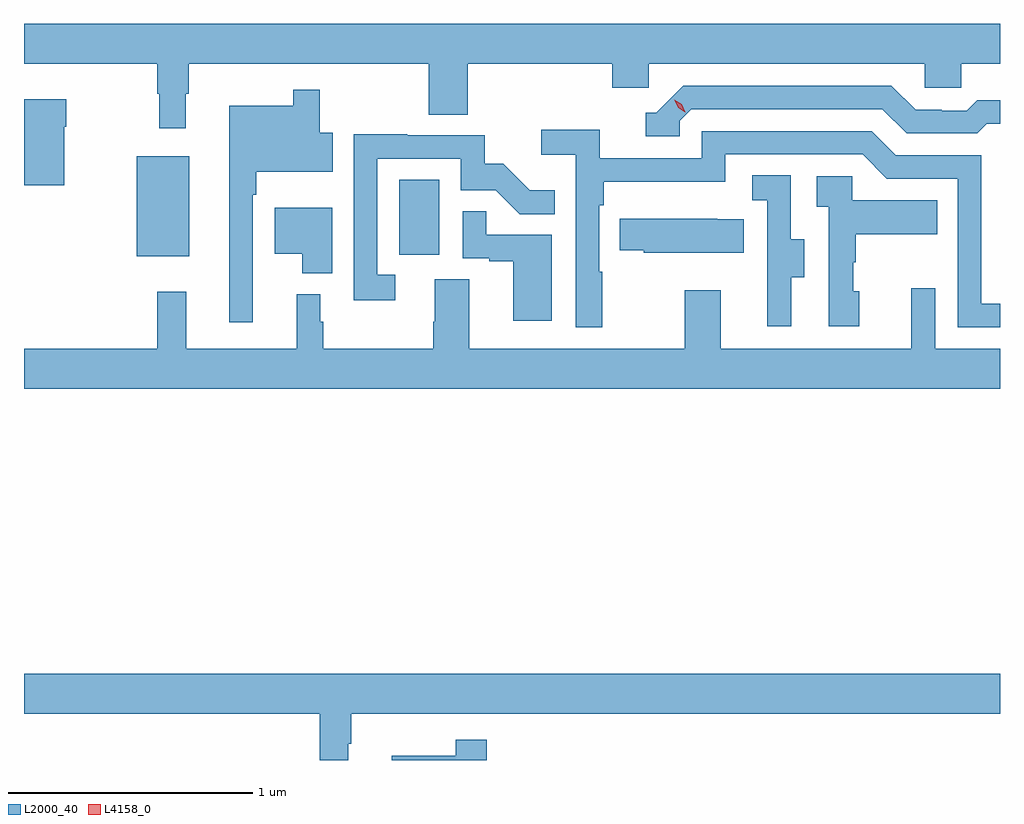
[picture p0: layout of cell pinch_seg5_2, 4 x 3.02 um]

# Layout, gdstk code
import gdstk
lib = gdstk.Library(unit=1e-6, precision=1e-09)
def R(c, l, rs):  # rectangles x0, y0, x1, y1
    for r in rs: c.add(gdstk.rectangle(r[:2], r[2:], *l))
def P(c, l, *ps):  # polygons
    for p in ps: c.add(gdstk.Polygon(p, *l))
L2000_40 = (2000, 40)
L4158_0 = (4158, 0)

pinch_seg5_2 = lib.new_cell('pinch_seg5_2')
R(pinch_seg5_2, L2000_40, [(1076.888,899.927,1077.103,900.337), (1077.962,899.934,1078.126,900.241)])
P(pinch_seg5_2, L2000_40, [(1077.088,900.593),(1077.1,900.593),(1077.1,900.716),(1078.084,900.716),(1078.084,900.508),(1078.244,900.508),(1078.244,900.716),(1078.835,900.716),(1078.835,900.618),(1078.986,900.618),(1078.986,900.716),(1080.117,900.716),(1080.117,900.618),(1080.267,900.618),(1080.267,900.716),(1080.425,900.716),(1080.425,900.88),(1076.425,900.88),(1076.425,900.716),(1076.971,900.716),(1076.971,900.593),(1076.979,900.593),(1076.979,900.453),(1077.088,900.453)],
  [(1079.112,900.483),(1079.16,900.531),(1079.943,900.531),(1080.042,900.432),(1080.331,900.432),(1080.37,900.471),(1080.425,900.471),(1080.425,900.568),(1080.331,900.568),(1080.289,900.525),(1080.186,900.525),(1080.186,900.528),(1080.079,900.528),(1079.98,900.627),(1079.127,900.627),(1079.016,900.516),(1078.973,900.516),(1078.973,900.42),(1079.112,900.42)],
  [(1077.363,900.179),(1077.376,900.179),(1077.376,900.275),(1077.691,900.275),(1077.691,900.433),(1077.637,900.433),(1077.637,900.61),(1077.528,900.61),(1077.528,900.544),(1077.266,900.544),(1077.266,899.658),(1077.363,899.658)],
  [(1076.59,900.458),(1076.598,900.458),(1076.598,900.571),(1076.425,900.571),(1076.425,900.218),(1076.59,900.218)],
  [(1078.795,899.864),(1078.782,899.864),(1078.782,900.137),(1078.802,900.137),(1078.802,900.233),(1079.298,900.233),(1079.298,900.345),(1079.862,900.345),(1079.961,900.246),(1080.252,900.246),(1080.252,899.637),(1080.425,899.637),(1080.425,899.733),(1080.348,899.733),(1080.348,900.342),(1079.998,900.342),(1079.899,900.441),(1079.202,900.441),(1079.202,900.33),(1078.784,900.33),(1078.784,900.446),(1078.545,900.446),(1078.545,900.344),(1078.686,900.344),(1078.686,899.637),(1078.795,899.637)],
  [(1077.946,899.853),(1077.873,899.853),(1077.873,900.327),(1078.215,900.327),(1078.215,900.198),(1078.359,900.198),(1078.457,900.1),(1078.601,900.1),(1078.601,900.199),(1078.497,900.199),(1078.39,900.306),(1078.314,900.306),(1078.314,900.423),(1077.995,900.423),(1077.995,900.428),(1077.777,900.428),(1077.777,899.748),(1077.946,899.748)],
  [(1079.569,899.842),(1079.623,899.842),(1079.623,899.997),(1079.568,899.997),(1079.568,900.26),(1079.409,900.26),(1079.409,900.157),(1079.472,900.157),(1079.472,899.853),(1079.471,899.853),(1079.471,899.64),(1079.569,899.64)],
  [(1079.848,899.784),(1079.823,899.784),(1079.823,899.903),(1079.833,899.903),(1079.833,900.017),(1080.167,900.017),(1080.167,900.157),(1079.82,900.157),(1079.82,900.255),(1079.673,900.255),(1079.673,900.131),(1079.724,900.131),(1079.724,899.64),(1079.848,899.64)],
  [(1077.688,900.127),(1077.452,900.127),(1077.452,899.939),(1077.566,899.939),(1077.566,899.858),(1077.688,899.858)],
  [(1078.588,900.015),(1078.319,900.015),(1078.319,900.113),(1078.224,900.113),(1078.224,899.919),(1078.331,899.919),(1078.331,899.907),(1078.43,899.907),(1078.43,899.664),(1078.588,899.664)],
  [(1079.375,900.079),(1079.267,900.079),(1079.267,900.082),(1078.867,900.082),(1078.867,899.953),(1078.965,899.953),(1078.965,899.942),(1079.375,899.942)],
  [(1080.425,899.548),(1080.159,899.548),(1080.159,899.797),(1080.062,899.797),(1080.062,899.548),(1079.281,899.548),(1079.281,899.788),(1079.134,899.788),(1079.134,899.548),(1078.249,899.548),(1078.249,899.834),(1078.109,899.834),(1078.109,899.66),(1078.102,899.66),(1078.102,899.548),(1077.652,899.548),(1077.652,899.66),(1077.64,899.66),(1077.64,899.773),(1077.542,899.773),(1077.542,899.548),(1077.089,899.548),(1077.089,899.782),(1076.971,899.782),(1076.971,899.548),(1076.425,899.548),(1076.425,899.384),(1080.425,899.384)],
  [(1077.754,897.929),(1077.766,897.929),(1077.766,898.052),(1080.425,898.052),(1080.425,898.216),(1076.425,898.216),(1076.425,898.052),(1077.637,898.052),(1077.637,897.863),(1077.754,897.863)],
  [(1078.322,897.946),(1078.194,897.946),(1078.194,897.88),(1077.932,897.88),(1077.932,897.863),(1078.322,897.863)])
P(pinch_seg5_2, L4158_0, [(1079.136,900.517),(1079.106,900.537),(1079.09,900.57),(1079.09,900.57),(1079.09,900.57),(1079.121,900.55),(1079.136,900.518),(1079.136,900.517)])

lib.write_gds('pinch_seg5_2.gds')
